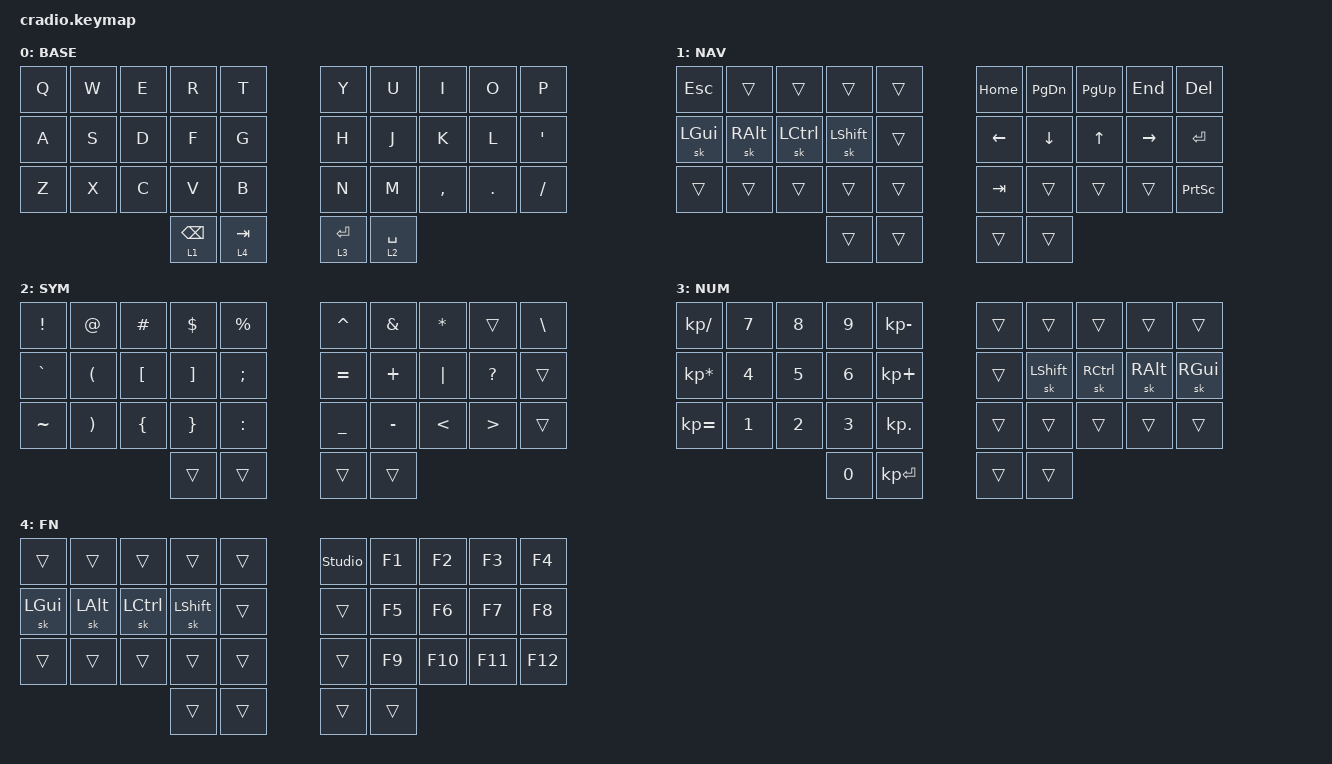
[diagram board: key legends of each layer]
// Copyright (c) 2022 The ZMK Contributors
// SPDX-License-Identifier: MIT

#include <behaviors.dtsi>
#include <dt-bindings/zmk/keys.h>

/ {
    behaviors {
        ht: hold_tap {
            compatible = "zmk,behavior-hold-tap";
            #binding-cells = <2>;
            flavor = "tap-preferred";
            tapping-term-ms = <220>;
            quick-tap-ms = <150>;
            require-prior-idle-ms = <100>;
            bindings = <&kp>, <&kp>;
        };
    };

    conditional_layers {
        compatible = "zmk,conditional-layers";

        tri_layer {
            if-layers = <1 1>;
            then-layer = <1>;
        };
    };

    keymap {
        compatible = "zmk,keymap";

        base {
            bindings = <
&kp Q  &kp W  &kp E  &kp R       &kp T        &kp Y        &kp U        &kp I      &kp O    &kp P
&kp A  &kp S  &kp D  &kp F       &kp G        &kp H        &kp J        &kp K      &kp L    &kp SQT
&kp Z  &kp X  &kp C  &kp V       &kp B        &kp N        &kp M        &kp COMMA  &kp DOT  &kp FSLH
                     &lt 1 BSPC  &lt 4 TAB    &lt 3 ENTER  &lt 2 SPACE
            >;

            label = "BASE";
        };

        nav {
            bindings = <
&kp ESC   &trans    &trans     &trans      &trans    &kp HOME  &kp PG_DN  &kp PG_UP  &kp END    &kp DEL
&sk LGUI  &sk RALT  &sk LCTRL  &sk LSHIFT  &trans    &kp LEFT  &kp DOWN   &kp UP     &kp RIGHT  &kp ENTER
&trans    &trans    &trans     &trans      &trans    &kp TAB   &trans     &trans     &trans     &kp PRINTSCREEN
                               &trans      &trans    &trans    &trans
            >;

            label = "NAV";
        };

        sym {
            bindings = <
&kp EXCL   &kp AT    &kp HASH  &kp DLLR  &kp PRCNT    &kp CARET  &kp AMPS   &kp STAR  &trans     &kp BSLH
&kp GRAVE  &kp LPAR  &kp LBKT  &kp RBKT  &kp SEMI     &kp EQUAL  &kp PLUS   &kp PIPE  &kp QMARK  &trans
&kp TILDE  &kp RPAR  &kp LBRC  &kp RBRC  &kp COLON    &kp UNDER  &kp MINUS  &kp LT    &kp GT     &trans
                               &trans    &trans       &trans     &trans
            >;

            label = "SYM";
        };

        num {
            bindings = <
&kp KP_DIVIDE    &kp N7  &kp N8  &kp N9  &kp KP_MINUS    &trans  &trans      &trans     &trans    &trans
&kp KP_MULTIPLY  &kp N4  &kp N5  &kp N6  &kp KP_PLUS     &trans  &sk LSHIFT  &sk RCTRL  &sk RALT  &sk RGUI
&kp KP_EQUAL     &kp N1  &kp N2  &kp N3  &kp KP_DOT      &trans  &trans      &trans     &trans    &trans
                                 &kp N0  &kp KP_ENTER    &trans  &trans
            >;

            label = "NUM";
        };

        fn {
            bindings = <
&trans    &trans    &trans     &trans     &trans    &studio_unlock  &kp F1  &kp F2   &kp F3   &kp F4
&sk LGUI  &sk LALT  &sk LCTRL  &sk LSHFT  &trans    &trans  &kp F5  &kp F6   &kp F7   &kp F8
&trans    &trans    &trans     &trans     &trans    &trans  &kp F9  &kp F10  &kp F11  &kp F12
                               &trans     &trans    &trans  &trans
            >;

            label = "FN";
        };
    };
};
